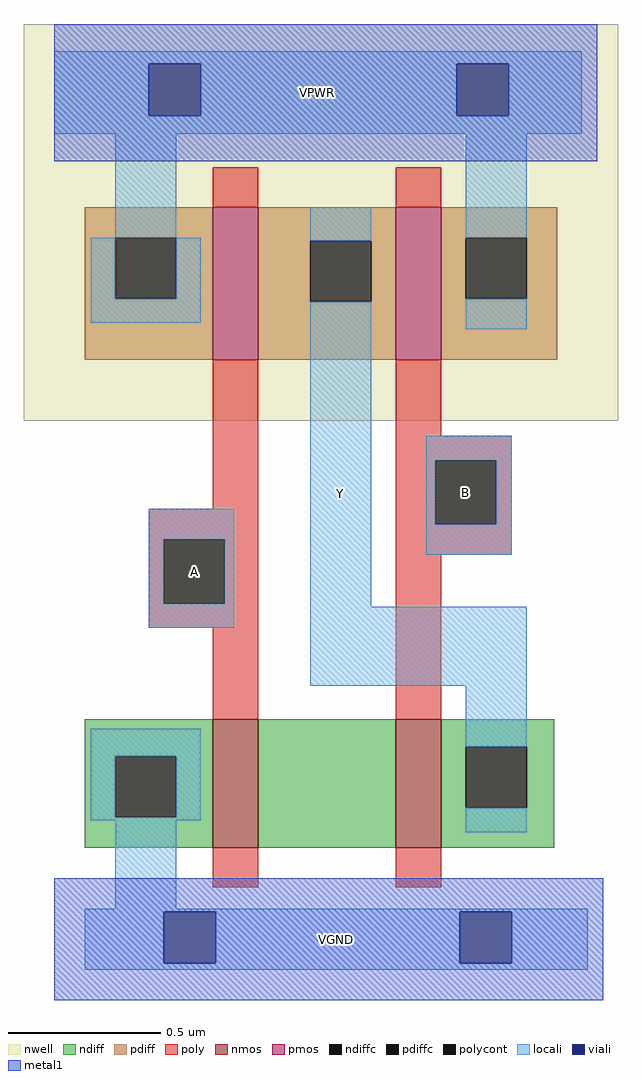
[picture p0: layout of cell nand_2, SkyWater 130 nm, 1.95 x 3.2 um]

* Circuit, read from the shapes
.subckt nand_2 A B Y VPWR VGND
XM1 n1 A VGND VSUBS sky130_fd_pr__nfet_01v8 w=0.42 l=0.15
XM2 Y B n1 VSUBS sky130_fd_pr__nfet_01v8 w=0.42 l=0.15
XM3 Y A VPWR n2 sky130_fd_pr__pfet_01v8 w=0.5 l=0.15
XM4 VPWR B Y n2 sky130_fd_pr__pfet_01v8 w=0.5 l=0.15
.ends

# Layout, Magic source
magic
tech sky130A
<< nwell >>
rect -10 170 185 300
<< nmos >>
rect 52 30 67 72
rect 112 30 127 72
<< pmos >>
rect 52 190 67 240
rect 112 190 127 240
<< ndiff >>
rect 10 60 52 72
rect 10 40 20 60
rect 40 40 52 60
rect 10 30 52 40
rect 67 30 112 72
rect 127 63 164 72
rect 127 43 135 63
rect 155 43 164 63
rect 127 30 164 43
<< pdiff >>
rect 10 230 52 240
rect 10 210 20 230
rect 40 210 52 230
rect 10 190 52 210
rect 67 229 112 240
rect 67 209 84 229
rect 104 209 112 229
rect 67 190 112 209
rect 127 230 165 240
rect 127 210 135 230
rect 155 210 165 230
rect 127 190 165 210
<< ndiffc >>
rect 20 40 40 60
rect 135 43 155 63
<< pdiffc >>
rect 20 210 40 230
rect 84 209 104 229
rect 135 210 155 230
<< poly >>
rect 52 240 67 253
rect 112 240 127 253
rect 52 141 67 190
rect 31 131 67 141
rect 31 110 36 131
rect 56 110 67 131
rect 31 102 67 110
rect 52 72 67 102
rect 112 165 127 190
rect 112 157 150 165
rect 112 136 125 157
rect 145 136 150 157
rect 112 126 150 136
rect 112 72 127 126
rect 52 17 67 30
rect 112 17 127 30
<< polycont >>
rect 36 110 56 131
rect 125 136 145 157
<< locali >>
rect 0 287 173 291
rect 0 270 31 287
rect 48 270 132 287
rect 149 270 173 287
rect 0 264 173 270
rect 20 230 40 264
rect 12 210 20 230
rect 40 210 48 230
rect 12 202 48 210
rect 84 229 104 240
rect 31 131 59 141
rect 31 110 36 131
rect 56 110 59 131
rect 31 102 59 110
rect 84 109 104 209
rect 135 230 155 264
rect 135 200 155 210
rect 122 157 150 165
rect 122 136 125 157
rect 145 136 150 157
rect 122 126 150 136
rect 84 83 155 109
rect 12 60 48 69
rect 12 40 20 60
rect 40 40 48 60
rect 12 39 48 40
rect 135 63 155 83
rect 20 10 40 39
rect 135 35 155 43
rect 10 9 175 10
rect 10 -8 36 9
rect 53 -8 133 9
rect 150 -8 175 9
rect 10 -10 175 -8
<< viali >>
rect 31 270 48 287
rect 132 270 149 287
rect 36 -8 53 9
rect 133 -8 150 9
<< metal1 >>
rect 0 287 178 300
rect 0 270 31 287
rect 48 270 132 287
rect 149 270 178 287
rect 0 255 178 270
rect 0 9 180 20
rect 0 -8 36 9
rect 53 -8 133 9
rect 150 -8 180 9
rect 0 -20 180 -8
<< labels >>
flabel polycont 36 110 56 131 0 FreeSans 120 0 0 0 A
port 0 nsew signal input
flabel polycont 125 136 145 157 0 FreeSans 120 0 0 0 B
port 1 nsew signal input
flabel locali 84 83 104 209 0 FreeSans 120 0 0 0 Y
port 2 nsew signal output
flabel locali 0 264 173 291 0 FreeSans 120 0 0 0 VPWR
port 3 nsew power bidirectional
flabel locali 10 -10 175 10 0 FreeSans 120 0 0 0 VGND
port 4 nsew ground bidirectional
<< properties >>
string FIXED_BBOX 0 0 175 278
<< end >>
